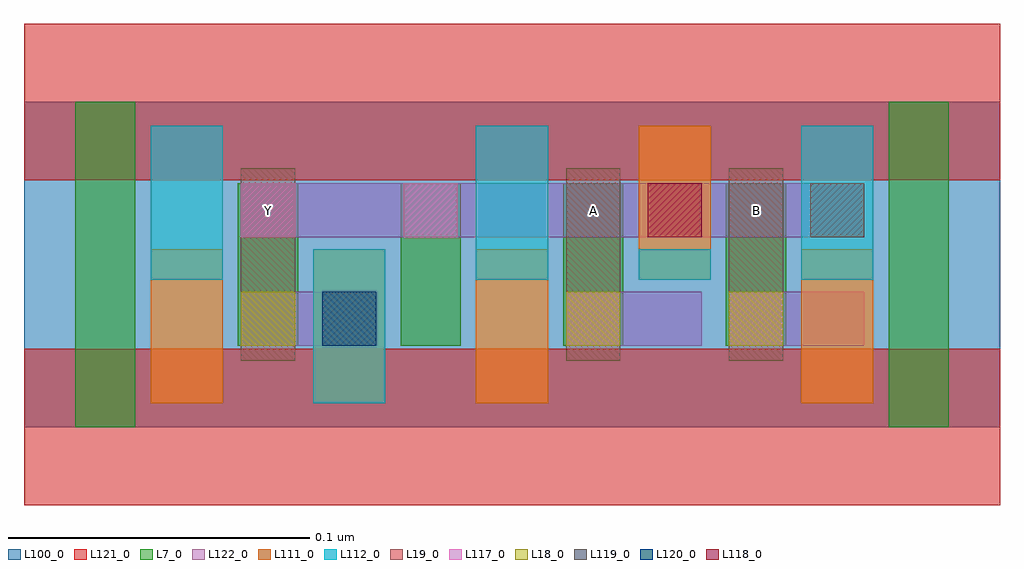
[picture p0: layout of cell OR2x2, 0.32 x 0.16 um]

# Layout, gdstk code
import gdstk
lib = gdstk.Library(unit=1e-6, precision=2.5e-10)
def R(c, l, rs):  # rectangles x0, y0, x1, y1
    for r in rs: c.add(gdstk.rectangle(r[:2], r[2:], *l))
def A(c, l, x, y, w, h, nx, ny, dx, dy):  # array of equal rectangles
    R(c, l, [(x+i*dx, y+j*dy, x+i*dx+w, y+j*dy+h) for i in range(nx) for j in range(ny)])
L7_0 = (7, 0)
L18_0 = (18, 0)
L19_0 = (19, 0)
L100_0 = (100, 0)
L111_0 = (111, 0)
L112_0 = (112, 0)
L117_0 = (117, 0)
L118_0 = (118, 0)
L119_0 = (119, 0)
L120_0 = (120, 0)
L121_0 = (121, 0)
L122_0 = (122, 0)

or2x2 = lib.new_cell('OR2x2')
A(or2x2, L7_0, 0.071, 0.027, 0.02, 0.054, 4, 1, 0.054, 0)
R(or2x2, L7_0, [(0.017,0,0.037,0.108), (0.287,0,0.307,0.108)])
R(or2x2, L18_0, [(0.072,0.027,0.09,0.045), (0.18,0.027,0.198,0.045), (0.234,0.027,0.252,0.045)])
R(or2x2, L19_0, [(0.072,0.022,0.09,0.086), (0.18,0.022,0.198,0.086), (0.234,0.022,0.252,0.086)])
R(or2x2, L100_0, [(0,0,0.324,0.108)])
A(or2x2, L111_0, 0.042, 0.008, 0.024, 0.051, 3, 1, 0.054, 0)
R(or2x2, L111_0, [(0.258,0.008,0.282,0.059), (0.204,0.049,0.228,0.1)])
A(or2x2, L112_0, 0.042, 0.049, 0.024, 0.051, 3, 1, 0.108, 0)
R(or2x2, L112_0, [(0.096,0.008,0.12,0.059), (0.204,0.049,0.228,0.059)])
R(or2x2, L117_0, [(0.18,0.027,0.198,0.045), (0.234,0.027,0.252,0.045), (0.072,0.063,0.09,0.081), (0.126,0.063,0.144,0.081)])
R(or2x2, L118_0, [(0.207,0.063,0.225,0.081)])
R(or2x2, L119_0, [(0.099,0.027,0.117,0.045), (0.261,0.063,0.279,0.081)])
R(or2x2, L120_0, [(0.099,0.027,0.117,0.045)])
R(or2x2, L121_0, [(0,-0.026,0.324,0.026), (0,0.082,0.324,0.134)])
R(or2x2, L122_0, [(0.072,0.027,0.117,0.045), (0.18,0.027,0.225,0.045), (0.234,0.027,0.279,0.045), (0.072,0.063,0.279,0.081)])
or2x2.add(gdstk.Label('Y', (0.081,0.072), layer=19, texttype=251))
or2x2.add(gdstk.Label('B', (0.243,0.072), layer=19, texttype=251))
or2x2.add(gdstk.Label('A', (0.189,0.072), layer=19, texttype=251))

lib.write_gds('OR2x2.gds')
